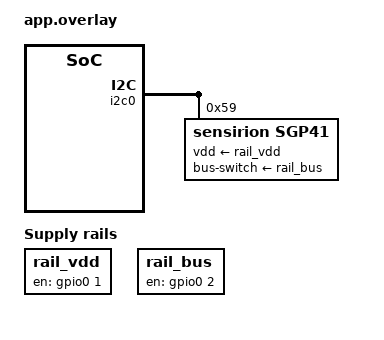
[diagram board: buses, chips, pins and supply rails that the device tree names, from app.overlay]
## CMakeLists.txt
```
# SPDX-FileCopyrightText: 2026 ETH Zurich and University of Bologna
# SPDX-License-Identifier: Apache-2.0
#
# Authors:
# - Philip Wiese <wiesep@iis.ee.ethz.ch>

cmake_minimum_required(VERSION 3.20.0)

find_package(Zephyr REQUIRED HINTS $ENV{ZEPHYR_BASE})
project(sensei_sgp41_test)

target_sources(app PRIVATE src/main.c src/emul_sgp41.c)
target_include_directories(app PRIVATE src ${CMAKE_CURRENT_LIST_DIR}/../common)
```

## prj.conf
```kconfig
# SPDX-FileCopyrightText: 2026 ETH Zurich and University of Bologna
# SPDX-License-Identifier: Apache-2.0

CONFIG_ZTEST=y
CONFIG_I2C=y
CONFIG_I2C_EMUL=y
CONFIG_EMUL=y
CONFIG_GPIO=y
CONFIG_GPIO_EMUL=y
CONFIG_REGULATOR=y
CONFIG_SENSOR=y
CONFIG_PM_DEVICE=y
CONFIG_PM_DEVICE_RUNTIME=y
CONFIG_SGP41_SENSEI=y
```

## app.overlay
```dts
/*
 * SPDX-FileCopyrightText: 2026 ETH Zurich and University of Bologna
 * SPDX-License-Identifier: Apache-2.0
 *
 * Authors:
 * - Philip Wiese <wiesep@iis.ee.ethz.ch>
 */

/* The SGP41 as on the sensor shield: a supply rail and an I2C isolation switch, both on GPIOs (emulated). The
 * emulator of the sensor answers only while both are on. The power-up time of the SGP41 is 0.6 ms (datasheet 3.6);
 * the shield uses 50 ms. */

#include <zephyr/dt-bindings/gpio/gpio.h>

/ {
	rail_vdd: rail-vdd {
		compatible = "regulator-fixed";
		regulator-name = "sgp41-vdd";
		enable-gpios = <&gpio0 1 GPIO_ACTIVE_HIGH>;
		startup-delay-us = <50000>;
		off-on-delay-us = <20000>;
	};

	rail_bus: rail-bus {
		compatible = "regulator-fixed";
		regulator-name = "sgp41-bus";
		enable-gpios = <&gpio0 2 GPIO_ACTIVE_HIGH>;
		off-on-delay-us = <20000>;
	};
};

&i2c0 {
	sgp41: sgp41@59 {
		compatible = "sensirion,sgp41";
		reg = <0x59>;
		vdd-supply = <&rail_vdd>;
		bus-switch-supply = <&rail_bus>;
	};
};
```

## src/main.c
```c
/*
 * SPDX-FileCopyrightText: 2026 ETH Zurich and University of Bologna
 * SPDX-License-Identifier: Apache-2.0
 *
 * Authors:
 * - Philip Wiese <wiesep@iis.ee.ethz.ch>
 */

/* SGP41 driver (NRF/drivers/sensor/sgp41) against the I2C emulator in emul_sgp41.c: sensor API with conditioning,
 * split calls, compensation ticks, heater off, power (rails), probe and re-probe.
 *
 * The driver keeps some state for good (chip found), so the tests run in name order and the first ones need a
 * driver that has not found the chip yet. Built twice (testcase.yaml): with the 10 s of conditioning in
 * sensor_sample_fetch() and without. */

#include <zephyr/device.h>
#include <zephyr/drivers/gpio.h>
#include <zephyr/drivers/gpio/gpio_emul.h>
#include <zephyr/drivers/i2c.h>
#include <zephyr/drivers/regulator.h>
#include <zephyr/drivers/sensor.h>
#include <zephyr/kernel.h>
#include <zephyr/pm/device_runtime.h>
#include <zephyr/ztest.h>

#include <sensei/drivers/sgp41.h>

#include "emul_sgp41.h"

#define RH_DEFAULT 0x8000 /* 50 %RH, datasheet table 12 */
#define T_DEFAULT 0x6666  /* 25 degC */

static const struct device *const dev = DEVICE_DT_GET(DT_NODELABEL(sgp41));
static const struct device *const gpio = DEVICE_DT_GET(DT_NODELABEL(gpio0));
static struct sgp41_emul *em;

static bool rail_on(void) { return gpio_emul_output_get(gpio, 1) == 1 && gpio_emul_output_get(gpio, 2) == 1; }
static bool rail_off(void) { return gpio_emul_output_get(gpio, 1) == 0 && gpio_emul_output_get(gpio, 2) == 0; }

static void *setup(void) {
  em = sgp41_emul_get();
  zassert_true(device_is_ready(dev));
  return NULL;
}

static void before(void *f) {
  ARG_UNUSED(f);
  sgp41_emul_reset();
}

static void after(void *f) {
  ARG_UNUSED(f);
  zassert_true(rail_off(), "rails are off at the end of a test");
  zassert_equal(em->early, 0, "no command was sent while the sensor was busy");
}

/* The emulator itself: it refuses what the datasheet says the sensor refuses. (Own rail control, not the driver.) */
ZTEST(sensei_sgp41, test_00_emulator_self_check) {
  const struct device *i2c = DEVICE_DT_GET(DT_NODELABEL(i2c0));
  const struct device *vdd = DEVICE_DT_GET(DT_NODELABEL(rail_vdd));
  const struct device *bus = DEVICE_DT_GET(DT_NODELABEL(rail_bus));
  const uint8_t serial[2] = {0x36, 0x82}, heater_off[2] = {0x36, 0x15};
  /* conditioning with the default compensation values of the datasheet (table 9: 0x8000 + CRC 0xA2, 0x6666 + CRC 0x93)
   */
  const uint8_t cond[8] = {0x26, 0x12, 0x80, 0x00, 0xA2, 0x66, 0x66, 0x93};
  uint8_t cond_bad[8] = {0x26, 0x12, 0x80, 0x00, 0xA2, 0x66, 0x66, 0x94};
  uint8_t buf[9];

  zassert_not_equal(i2c_write(i2c, serial, 2, 0x59), 0, "rails off: no answer");
  zassert_equal(regulator_enable(vdd), 0);
  zassert_equal(regulator_enable(bus), 0);
  zassert_equal(sensirion_emul_crc8((const uint8_t[]){0xBE, 0xEF}, 2), 0x92, "datasheet table 7 example");
  zassert_equal(i2c_write(i2c, cond_bad, 8, 0x59), -EIO, "wrong CRC");
  zassert_equal(i2c_write(i2c, cond, 8, 0x59), 0);
  zassert_not_equal(i2c_write(i2c, serial, 2, 0x59), 0, "the 50 ms of the conditioning are not waited");
  zassert_equal(em->early, 1);
  em->early = 0;
  k_msleep(60);
  zassert_equal(i2c_read(i2c, buf, 3, 0x59), 0);
  zassert_equal(buf[2], sensirion_emul_crc8(buf, 2));
  zassert_not_equal(i2c_read(i2c, buf, 3, 0x59), 0, "a result can be read once");
  zassert_equal(i2c_write(i2c, heater_off, 2, 0x59), 0);
  k_msleep(20);
  zassert_equal(regulator_disable(bus), 0);
  zassert_equal(regulator_disable(vdd), 0);
}

ZTEST(sensei_sgp41, test_01_no_bus_traffic_at_boot) {
  zassert_equal(em->transfers, 0);
  zassert_true(rail_off());
}

/* No chip: probe fails, the rails go off again, and the next try asks the chip again. */
ZTEST(sensei_sgp41, test_02_probe_without_chip) {
  em->present = false;
  zassert_equal(sensei_sgp41_probe(dev), -ENODEV);
  zassert_true(rail_off());
  zassert_true(em->transfers > 0);

  int before_n = em->transfers;

  zassert_equal(pm_device_runtime_get(dev), -ENODEV);
  zassert_true(rail_off());
  zassert_true(em->transfers > before_n, "asked again");
}

/* The chip shows up later: found without a reboot (serial number, then self test). A pixel that fails the self test
 * is only logged. */
ZTEST(sensei_sgp41, test_03_reprobe_finds_chip) {
  em->self_test = 0xD401;
  zassert_equal(sensei_sgp41_probe(dev), 0);
  zassert_true(rail_off());
  zassert_equal(em->log_len, 2);
  zassert_equal(em->log[0], SGP41_CMD_SERIAL);
  zassert_equal(em->log[1], SGP41_CMD_SELF_TEST);
}

/* Once the chip answered, a power-up does not ask again. */
ZTEST(sensei_sgp41, test_04_probe_result_is_kept) {
  zassert_equal(pm_device_runtime_get(dev), 0);
  zassert_true(rail_on());
  zassert_equal(em->log_len, 0);
  zassert_equal(sensei_sgp41_probe(dev), 0);
  zassert_equal(pm_device_runtime_put(dev), 0);
}

/* Without a reference (rails off) the calls refuse; heater off has nothing to do. */
ZTEST(sensei_sgp41, test_05_needs_power) {
  uint16_t v;

  zassert_equal(sensei_sgp41_condition(dev, RH_DEFAULT, T_DEFAULT, &v), -ENOTCONN);
  zassert_equal(sensei_sgp41_measure(dev, RH_DEFAULT, T_DEFAULT, &v, &v), -ENOTCONN);
  zassert_equal(sensei_sgp41_heater_off(dev), 0);
  zassert_equal(em->transfers, 0);
}

/* One conditioning command with the compensation values, the VOC raw value comes back. */
ZTEST(sensei_sgp41, test_06_conditioning_command) {
  uint16_t voc = 0;

  em->voc_raw = 31234;
  zassert_equal(pm_device_runtime_get(dev), 0);
  zassert_equal(sensei_sgp41_condition(dev, 0x1234, 0x4321, &voc), 0);
  zassert_equal(voc, 31234);
  zassert_equal(em->last_rh, 0x1234);
  zassert_equal(em->last_t, 0x4321);
  zassert_equal(sensei_sgp41_condition(dev, RH_DEFAULT, T_DEFAULT, NULL), 0, "result is optional");
  zassert_equal(sgp41_emul_count(SGP41_CMD_CONDITIONING), 2);
  zassert_equal(pm_device_runtime_put(dev), 0);
}

ZTEST(sensei_sgp41, test_07_measure_and_channels) {
  struct sensor_value v;
  uint16_t voc = 0, nox = 0;

  em->voc_raw = 28000;
  em->nox_raw = 1100;
  zassert_equal(pm_device_runtime_get(dev), 0);
  zassert_equal(sensei_sgp41_condition(dev, RH_DEFAULT, T_DEFAULT, NULL), 0);
  zassert_equal(sensei_sgp41_measure(dev, 0x2000, 0x7000, &voc, &nox), 0);
  zassert_equal(voc, 28000);
  zassert_equal(nox, 1100);
  zassert_equal(em->last_rh, 0x2000);
  zassert_equal(em->last_t, 0x7000);
  zassert_equal(em->unconditioned, 0);
  zassert_equal(sensor_channel_get(dev, SENSEI_SGP41_CHAN_VOC_RAW, &v), 0);
  zassert_equal(v.val1, 28000);
  zassert_equal(sensor_channel_get(dev, SENSEI_SGP41_CHAN_NOX_RAW, &v), 0);
  zassert_equal(v.val1, 1100);
  zassert_equal(sensor_channel_get(dev, SENSOR_CHAN_CO2, &v), -ENOTSUP);
  zassert_equal(pm_device_runtime_put(dev), 0);
}

ZTEST(sensei_sgp41, test_08_unsupported_channels) {
  zassert_equal(sensor_sample_fetch_chan(dev, SENSOR_CHAN_PRESS), -ENOTSUP);
  zassert_equal(em->transfers, 0, "no power and no traffic for a channel the driver does not have");
}

/* sensor_sample_fetch: power up, conditioning (one command per second), one measurement, power down. */
ZTEST(sensei_sgp41, test_09_sample_fetch) {
  struct sensor_value v;
  int64_t t0;
  int64_t dt;
  const int cond = CONFIG_SGP41_SENSEI_CONDITIONING_S;

  em->voc_raw = 29000;
  em->nox_raw = 1500;
  t0 = k_uptime_get();
  zassert_equal(sensor_sample_fetch(dev), 0);
  dt = k_uptime_get() - t0;
  zassert_true(rail_off());
  zassert_equal(sgp41_emul_count(SGP41_CMD_CONDITIONING), cond);
  zassert_equal(sgp41_emul_count(SGP41_CMD_MEASURE_RAW), 1);
  zassert_equal(em->over_conditioned, 0, "conditioning stays within the 10 s of the datasheet");
  zassert_equal(em->unconditioned, cond == 0 ? 1 : 0);
  /* default compensation: 50 %RH, 25 degC */
  zassert_equal(em->last_rh, RH_DEFAULT);
  zassert_equal(em->last_t, T_DEFAULT);
  zassert_true(dt >= cond * 1000 && dt < cond * 1000 + 500, "took %d ms for %d s of conditioning", (int)dt, cond);
  sensor_channel_get(dev, SENSEI_SGP41_CHAN_VOC_RAW, &v);
  zassert_equal(v.val1, 29000);
  sensor_channel_get(dev, SENSEI_SGP41_CHAN_NOX_RAW, &v);
  zassert_equal(v.val1, 1500);

  /* new compensation values are used by the next sample */
  sensei_sgp41_set_compensation(dev, 0x4000, 0x5000);
  zassert_equal(sensor_sample_fetch_chan(dev, SENSEI_SGP41_CHAN_VOC_RAW), 0);
  zassert_equal(em->last_rh, 0x4000);
  zassert_equal(em->last_t, 0x5000);
}

/* Heater off: idle mode while the rails stay on. The next measurement then needs conditioning again. */
ZTEST(sensei_sgp41, test_10_heater_off) {
  zassert_equal(pm_device_runtime_get(dev), 0);
  zassert_equal(sensei_sgp41_condition(dev, RH_DEFAULT, T_DEFAULT, NULL), 0);
  zassert_true(em->heater_on);
  zassert_equal(sensei_sgp41_heater_off(dev), 0);
  zassert_false(em->heater_on);
  zassert_equal(sgp41_emul_count(SGP41_CMD_HEATER_OFF), 1);
  zassert_equal(sensei_sgp41_measure(dev, RH_DEFAULT, T_DEFAULT, NULL, NULL), 0);
  zassert_equal(em->unconditioned, 1);
  zassert_equal(pm_device_runtime_put(dev), 0);
}

/* The bus fails: the driver says -EIO, in a sample the rails still go off. */
ZTEST(sensei_sgp41, test_11_bus_error) {
  zassert_equal(pm_device_runtime_get(dev), 0);
  em->fail_after = em->transfers;
  zassert_equal(sensei_sgp41_condition(dev, RH_DEFAULT, T_DEFAULT, NULL), -EIO);
  zassert_equal(sensei_sgp41_measure(dev, RH_DEFAULT, T_DEFAULT, NULL, NULL), -EIO);
  zassert_equal(sensei_sgp41_heater_off(dev), -EIO);
  em->fail_after = -1;
  zassert_equal(pm_device_runtime_put(dev), 0);

  em->fail_after = em->transfers; /* the chip is known: no traffic at power-up, the first command fails */
  zassert_equal(sensor_sample_fetch(dev), -EIO);
  zassert_true(rail_off());
}

ZTEST_SUITE(sensei_sgp41, NULL, setup, before, after, NULL);
```

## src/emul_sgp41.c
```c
/*
 * SPDX-FileCopyrightText: 2026 ETH Zurich and University of Bologna
 * SPDX-License-Identifier: Apache-2.0
 *
 * Authors:
 * - Philip Wiese <wiesep@iis.ee.ethz.ch>
 */

/* I2C emulator of the Sensirion SGP41 (address 0x59), for the driver "sensirion,sgp41".
 *
 * Follows the Sensirion SGP41 datasheet, version 1.0 (December 2021): 3.1 conditioning (command from idle mode,
 * default compensation values, 10 s at most), 3.2 raw signal measurement, 3.4 built-in self-test, 3.5 serial
 * number, 3.6 start-up (idle after 0.6 ms), 4.5 I2C sequences (no communication while a command runs, the sensor
 * answers a NACK; a result can be read once), 4.6 CRC-8, 4.7 command table 8 (codes, argument and response
 * lengths, execution times: conditioning and measurement 50 ms, self-test 320 ms, heater off and serial number 1 ms),
 * table 15 (self-test result: bit 0 VOC pixel, bit 1 NOx pixel failed).
 * The sensor does not answer while one of the two supply rails (gpio-controlled regulators of the node) is off.
 * Not modelled: the value of SRAW_NOX during the run-in of the NOx pixel. */

#define DT_DRV_COMPAT sensirion_sgp41

#include <errno.h>
#include <string.h>
#include <zephyr/device.h>
#include <zephyr/drivers/emul.h>
#include <zephyr/drivers/gpio.h>
#include <zephyr/drivers/gpio/gpio_emul.h>
#include <zephyr/drivers/i2c.h>
#include <zephyr/drivers/i2c_emul.h>

#include "emul_sgp41.h"

BUILD_ASSERT(DT_NUM_INST_STATUS_OKAY(DT_DRV_COMPAT) == 1, "one SGP41 node");

static struct sgp41_emul st;
static int64_t busy_until_us;
static int64_t cond_first_us;
static uint8_t resp[9];
static size_t resp_len;

static const struct gpio_dt_spec rail_vdd = GPIO_DT_SPEC_GET(DT_INST_PHANDLE(0, vdd_supply), enable_gpios);
static const struct gpio_dt_spec rail_bus = GPIO_DT_SPEC_GET(DT_INST_PHANDLE(0, bus_switch_supply), enable_gpios);

struct sgp41_emul *sgp41_emul_get(void) { return &st; }

void sgp41_emul_power_loss(void) {
  st.heater_on = false;
  st.conditioning = 0;
  busy_until_us = 0;
  resp_len = 0;
}

void sgp41_emul_reset(void) {
  memset(&st, 0, sizeof(st));
  st.present = true;
  st.self_test = 0xD400;
  st.voc_raw = 30000;
  st.nox_raw = 15000;
  st.fail_after = -1;
  sgp41_emul_power_loss();
}

int sgp41_emul_count(uint16_t cmd) {
  int n = 0;

  for (int i = 0; i < st.log_len; i++) {
    n += st.log[i] == cmd;
  }
  return n;
}

static bool rails_on(void) {
  return gpio_emul_output_get_dt(&rail_vdd) == 1 && gpio_emul_output_get_dt(&rail_bus) == 1;
}

static int nack(void) {
  st.nacks++;
  return -EIO;
}

static void log_cmd(uint16_t cmd) {
  if (st.log_len < SENSIRION_EMUL_LOG_LEN) {
    st.log[st.log_len++] = cmd;
  }
}

static int do_write(const uint8_t *buf, size_t len) {
  uint16_t cmd, arg[2] = {0, 0};
  int64_t now = sensirion_emul_now_us();
  int n = sensirion_emul_parse(buf, len, &cmd, arg, 2);
  int32_t t_us;

  if (n < 0) {
    return nack();
  }
  if (now < busy_until_us) {
    st.early++;
    return nack();
  }
  resp_len = 0;
  switch (cmd) {
  case SGP41_CMD_CONDITIONING:
    if (n != 2) {
      return nack();
    }
    if (st.conditioning == 0) {
      cond_first_us = now;
    } else if (now - cond_first_us > 10 * 1000 * 1000) {
      st.over_conditioned++;
    }
    st.conditioning++;
    st.heater_on = true;
    st.last_rh = arg[0];
    st.last_t = arg[1];
    resp_len = sensirion_emul_put_words(resp, &st.voc_raw, 1);
    t_us = 50 * 1000;
    break;
  case SGP41_CMD_MEASURE_RAW: {
    const uint16_t w[2] = {st.voc_raw, st.nox_raw};

    if (n != 2) {
      return nack();
    }
    if (st.conditioning == 0) {
      st.unconditioned++;
    }
    st.heater_on = true;
    st.last_rh = arg[0];
    st.last_t = arg[1];
    resp_len = sensirion_emul_put_words(resp, w, 2);
    t_us = 50 * 1000;
    break;
  }
  case SGP41_CMD_SELF_TEST:
    if (n != 0) {
      return nack();
    }
    resp_len = sensirion_emul_put_words(resp, &st.self_test, 1);
    t_us = 320 * 1000;
    break;
  case SGP41_CMD_HEATER_OFF:
    if (n != 0) {
      return nack();
    }
    st.heater_on = false;
    st.conditioning = 0;
    t_us = 1000;
    break;
  case SGP41_CMD_SERIAL: {
    const uint16_t sn[3] = {0x0000, 0x0123, 0x4567};

    if (n != 0) {
      return nack();
    }
    resp_len = sensirion_emul_put_words(resp, sn, 3);
    t_us = 1000;
    break;
  }
  default:
    return nack();
  }
  busy_until_us = now + t_us;
  log_cmd(cmd);
  return 0;
}

static int do_read(uint8_t *buf, size_t len) {
  if (sensirion_emul_now_us() < busy_until_us) {
    st.early++;
    return nack();
  }
  if (resp_len == 0 || len != resp_len) {
    return nack();
  }
  memcpy(buf, resp, len);
  resp_len = 0; /* a result can be read once */
  return 0;
}

static int sgp41_emul_transfer(const struct emul *target, struct i2c_msg *msgs, int num_msgs, int addr) {
  ARG_UNUSED(target);
  st.transfers++;
  if (!st.present || addr != DT_INST_REG_ADDR(0) || !rails_on()) {
    return nack();
  }
  if (st.fail_after >= 0 && st.transfers > st.fail_after) {
    return nack();
  }
  for (int i = 0; i < num_msgs; i++) {
    int ret = (msgs[i].flags & I2C_MSG_READ) ? do_read(msgs[i].buf, msgs[i].len) : do_write(msgs[i].buf, msgs[i].len);

    if (ret != 0) {
      return ret;
    }
  }
  return 0;
}

static const struct i2c_emul_api sgp41_emul_api = {
    .transfer = sgp41_emul_transfer,
};

static int sgp41_emul_init(const struct emul *target, const struct device *parent) {
  ARG_UNUSED(target);
  ARG_UNUSED(parent);
  sgp41_emul_reset();
  return 0;
}

#define SGP41_EMUL(n) EMUL_DT_INST_DEFINE(n, sgp41_emul_init, NULL, NULL, &sgp41_emul_api, NULL)

DT_INST_FOREACH_STATUS_OKAY(SGP41_EMUL)
```

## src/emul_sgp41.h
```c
/*
 * SPDX-FileCopyrightText: 2026 ETH Zurich and University of Bologna
 * SPDX-License-Identifier: Apache-2.0
 *
 * Authors:
 * - Philip Wiese <wiesep@iis.ee.ethz.ch>
 */

#ifndef SENSEI_TEST_EMUL_SGP41_H_
#define SENSEI_TEST_EMUL_SGP41_H_

#include <stdbool.h>
#include <stdint.h>

#include "sensirion_emul.h"

struct sgp41_emul {
  /* Test controls */
  bool present;       /* false: the chip does not answer (no ACK) */
  uint16_t self_test; /* answer of execute_self_test: 0xD400 passed; bit 0 VOC pixel, bit 1 NOx pixel failed */
  uint16_t voc_raw;   /* SRAW_VOC and SRAW_NOX of the next commands */
  uint16_t nox_raw;
  int fail_after; /* NACK every transfer after this many (-1: never) */

  /* Observations */
  int transfers;
  int nacks;
  int early; /* sent while the sensor executes a command (a missing wait) */
  uint16_t log[SENSIRION_EMUL_LOG_LEN];
  int log_len;
  uint16_t last_rh; /* arguments of the last conditioning or measure command, ticks */
  uint16_t last_t;
  bool heater_on;       /* measurement mode (after conditioning or measure, until turn_heater_off or power loss) */
  int conditioning;     /* conditioning commands since the heater went on */
  int over_conditioned; /* conditioning commands more than 10 s after the first one (datasheet: 10 s at most) */
  int unconditioned;    /* measure commands without conditioning before them */
};

/* The one emulated SGP41. */
struct sgp41_emul *sgp41_emul_get(void);

/* Default state: present, self test passed, VOC 30000 and NOx 15000 ticks. Clears the log and the counters. */
void sgp41_emul_reset(void);

/* The sensor lost its supply: idle mode, no conditioning. */
void sgp41_emul_power_loss(void);

int sgp41_emul_count(uint16_t cmd);

/* Command codes (SGP41 datasheet v1.0, table 8). */
#define SGP41_CMD_CONDITIONING 0x2612
#define SGP41_CMD_MEASURE_RAW 0x2619
#define SGP41_CMD_SELF_TEST 0x280E
#define SGP41_CMD_HEATER_OFF 0x3615
#define SGP41_CMD_SERIAL 0x3682

#endif /* SENSEI_TEST_EMUL_SGP41_H_ */
```
